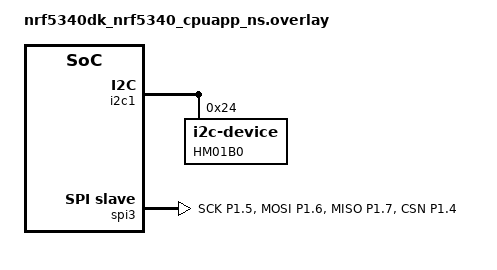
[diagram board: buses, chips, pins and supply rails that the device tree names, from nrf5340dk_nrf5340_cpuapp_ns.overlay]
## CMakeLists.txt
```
# SPDX-License-Identifier: Apache-2.0

cmake_minimum_required(VERSION 3.20.0)
find_package(Zephyr REQUIRED HINTS $ENV{ZEPHYR_BASE})
project(test-bleapp)

FILE(GLOB app_sources src/*.c)
target_sources(app PRIVATE ${app_sources})

target_include_directories(app PRIVATE include)
```

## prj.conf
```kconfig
# GPIO
CONFIG_GPIO=y

# I2C
CONFIG_I2C=y

# Log
CONFIG_LOG=y

# Bluetooth
CONFIG_BT=y
CONFIG_BT_PERIPHERAL=y
CONFIG_BT_GATT_CLIENT=y
CONFIG_BT_DEVICE_NAME="MilliCam"
CONFIG_BT_DEVICE_APPEARANCE=833
CONFIG_BT_MAX_CONN=1
CONFIG_BT_MAX_PAIRED=1
CONFIG_BT_BUF_ACL_RX_SIZE=502
CONFIG_BT_ATT_PREPARE_COUNT=2
CONFIG_BT_L2CAP_TX_BUF_COUNT=10
CONFIG_BT_L2CAP_TX_MTU=498
CONFIG_BT_CONN_TX_MAX=10
CONFIG_BT_BUF_ACL_TX_COUNT=10
CONFIG_BT_BUF_ACL_TX_SIZE=502
CONFIG_BT_USER_DATA_LEN_UPDATE=y
CONFIG_BT_USER_PHY_UPDATE=y
CONFIG_BT_HCI_CORE_LOG_LEVEL_INF=y
CONFIG_BT_RX_STACK_SIZE=8192

# GPIOTE
CONFIG_NRFX_GPIOTE=y
# The below command is needed to include multiple GPIOTEs (FRAME_VALID, LINE_VALID).
# Else, the configuration of GPIOTE initialized second would fail. Only the first one would work
CONFIG_NRFX_GPIOTE_NUM_OF_EVT_HANDLERS=2

# Timer
CONFIG_NRFX_TIMER0=y
CONFIG_NRFX_TIMER1=y

# SPI
CONFIG_SPI=y
CONFIG_SPI_ASYNC=y
CONFIG_SPI_SLAVE=y


CONFIG_LOG_BUFFER_SIZE=20000
```

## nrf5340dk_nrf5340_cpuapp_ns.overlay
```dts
/*
&i2c1 {
    hm01b0: hm01b0@24{
        compatible = "i2c-device";
        reg = < 0x24 >;
        label = "HM01B0";
    };
};
*/

&pinctrl {
    i2c1_default: i2c1_default {
        group1 {
            psels = <NRF_PSEL(TWIM_SDA, 1, 2)>,
                    <NRF_PSEL(TWIM_SCL, 1, 3)>;
            bias-pull-up;
        };
    };

    i2c1_sleep: i2c1_sleep {
        group1 {
            psels = <NRF_PSEL(TWIM_SDA, 1, 2)>,
                    <NRF_PSEL(TWIM_SCL, 1, 3)>;
            bias-pull-up;
            low-power-enable;
        };
    };
};

&i2c1 {
    hm01b0: hm01b0@24 {
        compatible = "i2c-device";
        reg = <0x24>;
        label = "HM01B0";
        pinctrl-0 = <&i2c1_default>;
        pinctrl-1 = <&i2c1_sleep>;
        pinctrl-names = "default", "sleep";
    };
};



&pinctrl {
	spi_slave_default: spi_slave_default {
		group1 {
			psels = <NRF_PSEL(SPIS_SCK, 1, 5)>,
					<NRF_PSEL(SPIS_MOSI, 1, 6)>,
					<NRF_PSEL(SPIS_MISO, 1, 7)>,
					<NRF_PSEL(SPIS_CSN, 1, 4)>;
		};
	};

	spi_slave_sleep: spi_slave_sleep {
		group1 {
			psels = <NRF_PSEL(SPIS_SCK, 1, 5)>,
					<NRF_PSEL(SPIS_MOSI, 1, 6)>,
					<NRF_PSEL(SPIS_MISO, 1, 7)>,
					<NRF_PSEL(SPIS_CSN, 1, 4)>;
			low-power-enable;
		};
	};
};

my_spi_slave: &spi3 {
	compatible = "nordic,nrf-spis";
	status = "okay";
	pinctrl-0 = <&spi_slave_default>;
	pinctrl-1 = <&spi_slave_sleep>;
	pinctrl-names = "default", "sleep";
	def-char = <0x00>;
};
```

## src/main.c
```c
/*
 * Copyright (c) 2016 Intel Corporation
 *
 * SPDX-License-Identifier: Apache-2.0
 */

#include <zephyr/kernel.h>
#include <zephyr/drivers/gpio.h>
#include <zephyr/drivers/i2c.h>
#include <zephyr/sys/printk.h>
#include <hal/nrf_gpiote.h>
#include <hal/nrf_timer.h>
#include <hal/nrf_dppi.h>

#include "hm01b0_clk.h"
#include "gpio.h"
#include "hm01b0_capture.h"
#include "hm01b0_spi.h"

//#include <zephyr/drivers/video.h>
//#include <zephyr/drivers/video/arducam_mega.h>
#include "app_bluetooth.h"
#include <zephyr/logging/log.h>

LOG_MODULE_REGISTER(millicam, CONFIG_LOG_DEFAULT_LEVEL);

/* 1000 msec = 1 sec */
//#define SLEEP_TIME_MS   500 //LED Blink interval

#define RESET_CAMERA 0XFF
#define SET_PICTURE_RESOLUTION 0X01
#define SET_VIDEO_RESOLUTION 0X02
#define SET_BRIGHTNESS 0X03
#define SET_CONTRAST 0X04
#define SET_SATURATION 0X05
#define SET_EV 0X06
#define SET_WHITEBALANCE 0X07
#define SET_SPECIAL_EFFECTS 0X08
#define SET_FOCUS_ENABLE 0X09
#define SET_EXPOSURE_GAIN_ENABLE 0X0A
#define SET_WHITE_BALANCE_ENABLE 0X0C
#define SET_MANUAL_GAIN 0X0D
#define SET_MANUAL_EXPOSURE 0X0E
#define GET_CAMERA_INFO 0X0F
#define TAKE_PICTURE 0X10
#define SET_SHARPNESS 0X11
#define DEBUG_WRITE_REGISTER 0X12
#define STOP_STREAM 0X21
#define GET_FRM_VER_INFO 0X30
#define GET_SDK_VER_INFO 0X40
#define SET_IMAGE_QUALITY 0X50
#define SET_LOWPOWER_MODE 0X60

uint32_t CAM_LINE_VLD;
uint8_t LINE_NUM = ROW_INIT;
uint8_t m_new_command_received = 0;
uint8_t jpeg_active = 0;
uint32_t img_data_length = 0;

/*
uint8_t m_new_acc = 0;
bool acc_int_flag = false;
uint8_t acc_pic_num = 0;
bool acc_int_cmd_flag = false;//flag for for accelerometer is giving interrupt or not
bool acc_int_cmd_sweep = false;//flag for if the sweeping is active for accelerometer or not
bool acc_rec_flag = false;//flag for checking if we want to record ACC data or not
bool cmd_acc_init_flag = false;//flag to show if the camera is already initialized or not
uint16_t packet_sent_acc = 0; */


enum {APP_CMD_NOCOMMAND = 0, APP_CMD_SINGLE_CAPTURE, APP_CMD_START_STREAM, APP_CMD_STOP_STREAM, 
      APP_CMD_CHANGE_RESOLUTION, APP_CMD_CHANGE_PHY, APP_CMD_SEND_BLE_PARAMS, APP_CMD_CHANGE_ANGLE, 
      APP_CMD_JPEG, APP_CMD_ACC, APP_CMD_WR_REG, APP_CMD_SWEEP_CAM, APP_CMD_CAM_ACC_REC};


/*
** Arducam mega communication protocols
** https://www.arducam.com/docs/arducam-mega/arducam-mega-getting-started/packs/HostCommunicationProtocol.html
*/
#define COMMAND_MAX_SIZE 6

void app_bt_connected_callback(void)
{
	LOG_INF("Bluetooth connection established. Entering BLE app mode");

}

void app_bt_disconnected_callback(void)
{
	LOG_INF("Bluetooth disconnected. Entering UDP app mode");

}

void app_bt_take_picture_callback(void)
{
	LOG_INF("TAKE PICTURE");
}

void app_bt_enable_stream_callback(bool enable)
{
	LOG_INF("Starting stream!");

}

void app_bt_change_resolution_callback(uint8_t resolution)
{
	LOG_INF("Change resolution to");

}


const struct app_bt_cb app_bt_callbacks = {
	.connected = app_bt_connected_callback,
	.disconnected = app_bt_disconnected_callback,
    .take_picture = app_bt_take_picture_callback,
	.enable_stream = app_bt_enable_stream_callback,
	.change_resolution = app_bt_change_resolution_callback,
};


int main(void)
{

	int ret;

	gpio_init();
	clk_init();
	gpio_setting_init();
	i2c_init();
	hm01b0_init();
	lvld_timer_init();
	//spi_init();

	ret = app_bt_init(&app_bt_callbacks);
	if (ret < 0) {
		LOG_ERR("Error initializing Bluetooth");
		return -1;
	}

	#if (JPEG_COMPRESS == 0)
	for(;;)
	{
		k_msleep(SLEEP_TIME_MS);
		if(m_new_command_received != APP_CMD_NOCOMMAND)
		{
			uint32_t new_command = m_new_command_received;
			LOG_INF("new_command=%d", new_command);
            m_new_command_received = APP_CMD_NOCOMMAND;
			switch(new_command)
			{
				case APP_CMD_SINGLE_CAPTURE:
					if(ble_bytes_sent_counter >= m_length_rx_done){
						LOG_INF("Starting capture...");
						if(jpeg_active == 0){
                            hm_peripheral_connected_init();
                            hm_single_capture_spi_832();
                            LOG_INF("Capture complete: size %i bytes", (uint32_t)(m_length_rx_done));
							single_capture_flag = 1;
					}
				/*	else {
						LOG_INF("Starting capture...");

                            hm_single_capture_spi_832_compressed();
                            LOG_INF("Capture complete: size %i bytes", (uint32_t)(compressed_size));
                            single_capture_flag = 1;
					} */  //DEEKSHA: Enable this later
				}
					break;

                case APP_CMD_START_STREAM:
                    LOG_INF("Stream mode enabled");
                    break;

                case APP_CMD_STOP_STREAM:
                    LOG_INF("Stream mode disabled");
                    break;

                case APP_CMD_SEND_BLE_PARAMS:
                    app_bt_send_picture_header(m_length_rx_done);
                    break;

				default:
					break;
			}
		}

		if(m_stream_mode_active)
        {
            #if (FRAME_VLD_INT == 1)
            if(!stream_first_image_done){
                if(!acc_int_cmd_sweep){
                    stream_first_image_done = true;
                    hm_peripheral_connected_init();
                    if(cmd_acc_init_flag){
                        cmd_acc_init_flag = false;
                        //cam_power_up(); //DEEKSHA Enable later
                        hm01b0_init_fixed_rom_qvga_fixed();
                        hm_i2c_write(REG_FRAME_LENGTH_LINES_H, 0x02);
                        hm_i2c_write(REG_FRAME_LENGTH_LINES_L, 0x12);
                    }
                    hm_single_capture_spi_832_stream();
                } else {
                    stream_first_image_done = true;
                    hm_peripheral_connected_init();
                    hm_i2c_write(REG_FRAME_LENGTH_LINES_H,CAM_SWEEP_REG_FRAME_LENGTH_LINES_H);
                    hm_i2c_write(REG_FRAME_LENGTH_LINES_L,CAM_SWEEP_REG_FRAME_LENGTH_LINES_L);
                   // pwm_boost_step_rise_fall(DUTY_VALUES_PWM_BOOST[7], PWM_STEPS_NUM, PWM_STEPS_NUM_DOWN , PWM_STEP_DELAY, false); //DEEKSHA : Enable later
                    hm_single_capture_spi_832_stream();
                }
            }
            #endif
        }

		if(ble_bytes_sent_counter < m_length_rx_done )
        {
                #if (FRAME_VLD_INT == 1)
                if(!img_info_sent){
                    if(acc_rec_flag == true){
                        m_length_rx_done = m_length_rx_done + m_length_rx;
                    }
                    app_bt_send_picture_header(m_length_rx_done);
                    img_info_sent = true;
                }

                #endif

                #if (BLE_TEST_PIN_USED == 1)
                nrf_gpio_pin_clear(BLE_START_PIN);
                #endif

                int ret_code;
                do
                {
                    if(img_data_length == 0)
                    {
                        /*Send the max number of bytes that the m_ble_its_max_data_len lets you*/
                        img_data_length = ((m_length_rx_done - ble_bytes_sent_counter) > le_tx_data_length ? le_tx_data_length : (m_length_rx_done - ble_bytes_sent_counter));
                    }

                    ret_code = app_bt_send_picture_data(m_rx_buf+ble_bytes_sent_counter, img_data_length);

                    if(ret_code == 0)
                    {
                        ble_bytes_sent_counter += img_data_length;
                        img_data_length = 0;

                        if (ble_bytes_sent_counter >= m_length_rx_done)
                        {
                            break;
                        }
                        else
                        {
                            //DEEKSHA ToDo: Logic to be added to handle this condition. Check what happens in streaming as well
                        }
                      /* if(acc_rec_flag == true){
                            packet_sent_acc++;
                            //Read the Acc and Mag data and save it at the end of the image
                            if(packet_sent_acc == 20){
                                packet_sent_acc = 0;
                                mc6470_acc_read();
                            }
                        } */ //DEEKSHA: Enable later
                    }
                }while(1);

              #if (FRAME_VLD_INT == 1)
              if((ble_bytes_sent_counter >= m_length_rx_done) && m_stream_mode_active){

                  img_info_sent = false;
                  if(!acc_int_cmd_flag){
                          int error = spi_slave_write_msg();
	                        if(error != 0){
		                        //LOG_ERR("SPI slave transceive error: %i\n", error); //DEEKSHA: Uncomment this after SPI Bug fix
	                            }

                      nrfx_gpiote_trigger_enable(FRAME_VALID_PIN, true);
                  } 
                  else 
                  { //DEEKSHA: Enable this section later
                  /*
                      memset(m_rx_buf+total_image_size, 0, m_length_rx);
                      acc_rec_counter = 0;
                      if(!acc_int_cmd_sweep){
                          if(acc_pic_num > 0){
                             // APP_ERROR_CHECK(nrf_drv_spis_buffers_set(&spis, m_tx_buf, m_length_tx, m_rx_buf, m_length_rx));
                              if(acc_rec_flag == true){
                                  acc_rec_counter = 0;
                                  packet_sent_acc = 0;
                              }
                              nrf_drv_gpiote_in_event_enable(FRAME_VLD, true);
                              acc_pic_num--;
                          } else{
                              hm_i2c_write( REG_MODE_SELECT, 0x00);
                              m_stream_mode_active = false;
                              stream_first_image_done = false;
                              nrf_delay_ms(POR_DELAY);
                              nrf_drv_gpiote_in_event_enable(ACC_INT_PIN, true);
                              accel_sr = hm_i2c_read_8b(SR, SLAV_ADDR_ACC);
                              #if(CAM_CLK_GATING == 1)
                              nrf_drv_timer_disable(&CAM_TIMER);
                              #endif
                              hm_peripheral_uninit();
                          }
                      } else {
                          if(acc_pic_num > 0){
                              APP_ERROR_CHECK(nrf_drv_spis_buffers_set(&spis, m_tx_buf, m_length_tx, m_rx_buf, m_length_rx));
                              switch(acc_pic_num){
                                  case 5: 
                                      break;

                                  case 4: 
                                      pwm_boost_step_rise_fall(DUTY_VALUES_PWM_BOOST[2], PWM_STEPS_NUM, PWM_STEPS_NUM_DOWN , PWM_STEP_DELAY, false);
                                      break;

                                  case 3: 
                                      pwm_boost_zero();
                                      break;

                                  case 2: 
                                      pwm_boost_step_rise_fall(DUTY_VALUES_PWM_BOOST[2], PWM_STEPS_NUM, PWM_STEPS_NUM_DOWN , PWM_STEP_DELAY, true);
                                      break;

                                  case 1: 
                                      pwm_boost_step_rise_fall(DUTY_VALUES_PWM_BOOST[7], PWM_STEPS_NUM, PWM_STEPS_NUM_DOWN , PWM_STEP_DELAY, true);
                                      break;
                              }
                              acc_pic_num--;
                              nrf_drv_gpiote_in_event_enable(FRAME_VLD, true);
                          } else {
                              hm_i2c_write( REG_MODE_SELECT, 0x00);
                              m_stream_mode_active = false;
                              stream_first_image_done = false;
                              nrf_delay_ms(POR_DELAY);
                              nrf_drv_gpiote_in_event_enable(ACC_INT_PIN, true);
                              accel_sr = hm_i2c_read_8b(SR, SLAV_ADDR_ACC);
                              #if(CAM_CLK_GATING == 1)
                              nrf_drv_timer_disable(&CAM_TIMER);
                              #endif

                              pwm_boost_zero();

                              hm_peripheral_uninit();

                            //  Make the boost clock pin 0 to turn off the switching transistor
                              nrf_gpio_cfg(
                              BOOST_PIN,
                              NRF_GPIO_PIN_DIR_OUTPUT,
                              NRF_GPIO_PIN_INPUT_DISCONNECT,
                              NRF_GPIO_PIN_PULLDOWN,
                              NRF_GPIO_PIN_S0S1,
                              NRF_GPIO_PIN_NOSENSE);
                              nrf_gpio_pin_clear(BOOST_PIN);
                          }
                      }
                */  }
             } else if(!m_stream_mode_active && (ble_bytes_sent_counter < m_length_rx_done)){
                  hm_i2c_write( REG_MODE_SELECT, 0x00);
              } else if(!m_stream_mode_active && (ble_bytes_sent_counter >= m_length_rx_done)){
                  #if(CAM_CLK_GATING == 1)
                   nrfx_timer_disable(&CAM_TIMER);
                  #endif

                //  hm_peripheral_uninit(); //DEEKSHA Enable later

                  #if(CAM_SINGLE_CAPTURE_POWER_FIX == 1)
                  nrf_delay_ms(CAM_TURN_OFF_DELAY);
                  nrf_gpio_pin_clear(CAM_POWER);
                  #endif
              }
              #endif
        }

        if(m_new_command_received == APP_CMD_NOCOMMAND)
        {
          // idle_state_handle(); //DEEKSHA: Check if this is needed
        }
	}

	#endif

	return 0;

}
```

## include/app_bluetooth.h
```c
#ifndef __APP_BLUETOOTH_H
#define __APP_BLUETOOTH_H

#include <zephyr/types.h>
#include <zephyr/kernel.h>

// Callbacks from the app_bluetooth module to the application
typedef void (*app_bt_connected_cb)(void);
typedef void (*app_bt_disconnected_cb)(void);
typedef void (*app_bt_take_picture_cb)(void);
typedef void (*app_bt_enable_stream_cb)(bool enable);
typedef void (*app_bt_change_resolution_cb)(uint8_t resolution);

struct app_bt_cb {
    app_bt_connected_cb connected;
    app_bt_disconnected_cb disconnected;
    app_bt_take_picture_cb take_picture;
    app_bt_enable_stream_cb enable_stream;
    app_bt_change_resolution_cb change_resolution;
};

int app_bt_init(const struct app_bt_cb *callbacks);

int app_bt_send_picture_header(uint32_t pic_size);

int app_bt_send_picture_data(uint8_t *buf, uint16_t len);

extern int le_tx_data_length;

#endif
```

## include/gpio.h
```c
#ifndef GPIO_H
#define GPIO_H

#include <zephyr/drivers/gpio.h>
#include <zephyr/kernel.h>
#include <nrfx_gpiote.h>
#include "hm01b0_lvld_timer.h"
#include "hm01b0_capture.h"
#include "hm01b0_ble_defines.h"
#include "nrf.h"
#include "hm01b0_spi.h"

/* 1000 msec = 1 sec */
#define SLEEP_TIME_MS   100 //LED Blink interval

#define HIGH 1
#define LOW 0

#define FRAME_VALID_PIN 27 //gpio0
#define LINE_VALID_PIN 25 //gpio0
#define MCLK_PIN 26 //gpio0
#define CAM_SPI_GPIO_CS_PIN 11 //gpio1

#define TEST_PIN 4 //gpio0

#define CAM_SPI_PIN_MASK(pin) (1 << (pin))

extern const struct device *gpio0;
extern const struct device *gpio1;

extern uint32_t line_count;
extern volatile uint8_t image_rd_done;
extern uint8_t image_frame_done;
extern bool m_stream_mode_active;
extern bool stream_first_image_done;
extern bool acc_int_cmd_sweep;
extern bool cmd_acc_init_flag;
extern uint8_t m_new_command_received;
extern uint8_t single_capture_flag;
extern bool img_info_sent;
extern uint16_t total_image_size;

extern bool acc_rec_flag;
extern bool acc_int_cmd_flag;

int gpio_init();
void gpio_setting_init(void);

#endif
```

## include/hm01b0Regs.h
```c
#ifndef HM01B0REGS_H
#define HM01B0REGS_H

/**############################# Registers #############################**/
//Sensor ID
#define REG_MODEL_ID_H      0x0000
#define REG_MODEL_ID_L      0x0001
#define REG_SILICON_REV     0x0002
#define REG_FRAME_COUNT     0x0005
#define REG_PIXEL_ORDER     0x0006

//Sensor mode control
#define REG_MODE_SELECT         0x0100
#define REG_IMAGE_ORIENTATION   0x0101
#define REG_SW_RESET            0x0103
#define REG_GRP_PARAM_HOLD      0x0104

//Sensor exposure gain control

//Frame timing control
#define REG_FRAME_LENGTH_LINES_H        0x0340
#define REG_FRAME_LENGTH_LINES_L        0x0341
#define REG_FRAME_LENGTH_PCK_H          0x0342
#define REG_FRAME_LENGTH_PCK_L          0x0343

//Bining mode control


//Test pattern control
#define REG_TEST_PATTERN_MODE       0x0601

//Black level control
#define REG_BLC_CFG         0x1000
#define REG_BLC_TGT         0x1003
#define REG_BLI_EN          0x1006
#define REG_BLC2_TGT        0x1007

//Sensor resevred

//VSYNC, HSYNC and pixel shift register
#define REG_VSYNC_HSYNC_PIXEL_SHIFT_EN      0x1012


//Binning mode control
#define REG_BIN_RDOUT_X     0x0383
#define REG_BIN_RDOUT_Y     0x0387
#define REG_BIN_MODE        0x0390

//Statistic control and read only

//Automatic exposure gain control


//Motion detection control

//Sensor timing control
#define REG_QVGA_WIN_EN                 0x3010
#define REG_SIX_BIT_MODE_EN             0x3011
#define REG_PMU_PROGRAMMABLE_FRAMECNT   0x3020
#define REG_ADVANCE_VSYNC               0x3022
#define REG_ADVANCE_HSYNC               0x3023
#define REG_EARLY_GAIN                  0x3035


//IO and clock control
#define REG_BIT_CONTROL                 0x3059
#define REG_OSC_CLK_DIV                 0x3060
#define REG_ANA_REGISTER_11             0x3061
#define REG_IO_DRIVE_STR                0x3062
#define REG_IO_DRIVE_STR2               0x3063
#define REG_ANA_REGISTER_14             0x3064
#define REG_OUTPUT_PIN_STATUS_CONTROL   0x3065
#define REG_ANA_REGISTER_17             0x3067
#define REG_PCLK_POLARITY               0x3068


//I2C slave registers


/**############################# Modes #############################**/
#define MODE_STAND_BY       0x00
#define MODE_STREAMING      0x01
#define MODE_STREAMING2     0x02
#define MODE_STREAMING3     0x03

#define ORIENTATION_HORINONTAL  0x00
#define ORIENTATION_VERTICAL    0x01


#define TEST_PATTERN_OFF            0x00
#define TEST_PATTERN_COLOR_BAR      0x01
#define TEST_PATTERN_WALKING_1      0x11


#endif
```

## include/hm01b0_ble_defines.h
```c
#ifndef HM01B0_BLE_DEFINES_H
#define HM01B0_BLE_DEFINES_H

#include <stdint.h>

//Code shortcuts+++++++++++++++++++++++++++++++++++++++++++++++++
#define lvld_timer_pause  nrf_drv_timer_disable
#define lvld_timer_run  nrf_drv_timer_enable

#define spi_buffer_size 100
#define ROW_INIT 100
#define total_spi_buffer_size_max 32000
#define total_spi_buffer_size 10000
extern uint8_t LINE_NUM;


//Got from HM01B0_COMPRESS.h +++++++++++++++++++++++++++++++++++++++++
#define COMPRESSED_FILE_NAME "test_lowest4.jpg"
#define jpeg_imag_mem_size 100
#define NRF_FPU_USED 0
#define JPEG_16B 1
//+++++++++++++++++++++++++++++++++++++++++++++++++++++++++++++++


#define SPIS_INSTANCE 2 /**< SPIS instance index. */


#ifdef BSP_LED_0
    #define PIN_OUT BSP_LED_0
#endif
//+++++++++++++++++++++++++++++++++++++++++++++++++++++++++++++++

//Got from HM01B0_CAPTURE.h +++++++++++++++++++++++++++++++++++++++++
/*if capture_mode=0x01 => it streams. This is useful for tetsing purposes*/
/*if capture_mode=0x03 => it takes frame_count shots. */
#define capture_mode  0x01
#define CAMERA_DEBUG 0
#define BLE_DEBUG 0
#define JPEG_COMPRESS 0//Activates the JPEG stuff
#define FINAL_CODE 1
#define TEST_PATTERN 0x00
#define BLE_TEST_PIN_USED 0
#define MEM_INIT  0
#define MEM_INIT_VALUE 0x11
#define FRAME_VLD_INT 1//Use the frame valid in the code
#define CAM_CLK_GATING 1//Turns off camera clock when not taking pictures
#define CAM_SINGLE_CAPTURE_POWER_FIX 0//after signle capture the camera power stays high for this reason I power cycle the camera each time
#define POR_DELAY 200
#define CAM_TURN_OFF_DELAY 100
//+++++++++++++++++++++++++++++++++++++++++++++++++++++++++++++++


//PINS USED+++++++++++++++++++++++++++++++++++++++++++++++++++++++++++++++++++
//Got from HM01B0_PWM.h 
#define PIEZO_PIN  NRF_GPIO_PIN_MAP(0,24)
#define BOOST_CLK_PIN_VALUE  12
#define BOOST_CLK_PIN_VALUE2  25
#define BOOST_PIN  NRF_GPIO_PIN_MAP(0,BOOST_CLK_PIN_VALUE)
#define BOOST_PIN2  NRF_GPIO_PIN_MAP(0,BOOST_CLK_PIN_VALUE2)
#define TIMER_BOOST_ARRAY_SIZE 21
#define DUTY_BOOST_ARRAY_SIZE 9
#define PERIOD_BOOST_ARRAY_SIZE 6
#define PERIOD_BOOST_ARRAY_SIZE 6
#define pwm_boost_step_func pwm_boost_step
#define BOOST_PNP_SWITCH 8
#define BOOST_NPN_SWITCH 6
#define CAM_SWEEP_REG_FRAME_LENGTH_LINES_H 0x07
#define CAM_SWEEP_REG_FRAME_LENGTH_LINES_L 0x12
#define PWM_STEPS_NUM 200
#define PWM_STEPS_NUM_DOWN 15
#define PWM_STEP_DELAY 1

//#define ACC_POWER_VALUE 24
#define ACC_POWER_VALUE 24
#define ACC_INT_PIN 20
#define MAG_INT_PIN 23

#define ACC_PIC_CNT 4
#define ACC_PIC_CNT_SWEEP 4


//Got from HM01B0_I2C.h 
#define SLAV_ADDR_ACC 0x4C
#define SLAV_ADDR_MAG 0x0C
#define SLAVE_ADDR 0x24U //address for camera
#define I2C_DATA_LENGTH 32U
/* TWI instance ID. */
#define TWI_INSTANCE_ID     0
//++++++++++++++++++++++++++++++++++++++++++++++++++++++++++++++++++++++++++++

#define I2C_RST_TIMER_VALUE 2000*8*2
#define I2C_RST_CNT_MAX 8
#define I2C_RST_ENABLE 1

//Got from HM01B0_LVLD_TIMER.h +++++++++++++++++++++++++++++++++++++++++
#define LVLD_TIMER_VALUE (spi_buffer_size + 20)*8*2 //the second number in multiplication is equal to 64/cam_mclk_freq; if cam_mcl_freq=8MHz => 8
//+++++++++++++++++++++++++++++++++++++++++++++++++++++++++++++++


//Timers used +++++++++++++++++++++++++++++++++++++++++
/*Timer 0 => BLE timing  NRF_DRV_TIMER_INSTANCE(0)
Timer 1 => camera clk NRF_DRV_TIMER_INSTANCE(1)
Timer 2 => I2C stuck reset timer!!   NRF_DRV_TIMER_INSTANCE(2) 
Timer 3 => pwm 3  NRF_DRV_TIMER_INSTANCE(3)
Timer 4 => LVLD timer!!   NRF_DRV_TIMER_INSTANCE(4) */ 
//+++++++++++++++++++++++++++++++++++++++++++++++++++++++++++++++

//IRQ priorities +++++++++++++++++++++++++++++++++++++++++
/*Timer 0 => BLE timing
GPIOTE:5
LVLD Timer:3
SPIS_ENABLED: 4
NRFX_SPIS:4
*/
//+++++++++++++++++++++++++++++++++++++++++++++++++++++++++++++++


#endif
```

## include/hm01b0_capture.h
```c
#ifndef HM01B0_CAPTURE_H
#define HM01B0_CAPTURE_H

#include "i2c.h"
#include "hm01b0Regs.h"
#include "gpio.h"
#include "hm01b0_func.h"
#include "hm01b0_clk.h"
#include "hm01b0_spi.h"

extern uint32_t ble_bytes_sent_counter;

void hm01b0_init(void);
void hm_peripheral_connected_init(void);
void hm_single_capture_spi_832(void);
void hm_single_capture_spi_832_stream(void);

#endif
```

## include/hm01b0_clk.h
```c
#ifndef HM01B0_CLK_H
#define HM01B0_CLK_H

#include <helpers/nrfx_gppi.h>
#include <nrfx_timer.h>
#include <nrfx_gpiote.h>
#include "gpio.h"

/**
 * @defgroup nrfx_gppi_one_to_one_example One-to-one GPPI example
 * @{
 * @ingroup nrfx_gppi_examples
 *
 * @brief Example showing basic functionality of a nrfx_gppi helper.
 *
 * @details Application initializes nrfx_gpiote, nrfx_timer drivers and nrfx_gppi helper in a way that
 *          TIMER compare event is set up to be forwarded via PPI/DPPI to GPIOTE and toggle a pin.
 */

/** @brief Symbol specifying timer instance to be used. */
#define TIMER_INST_IDX 0

/** @brief Symbol specifying time in milliseconds to wait for handler execution. */
#define TIME_TO_WAIT_MS 100UL

extern nrfx_timer_t CAM_TIMER;

int clk_init();

#endif
```

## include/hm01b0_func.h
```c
#ifndef HM01B0_FUNC_H
#define HM01B0_FUNC_H

#include "hm01b0Regs.h"
#include "hm01b0_ble_defines.h"
#include "i2c.h"

void hm01b0_init_fixed_rom_qvga_fixed(void);

#endif
```

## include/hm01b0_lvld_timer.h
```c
#ifndef HM01B0_LVLD_TIMER_H
#define HM01B0_LVLD_TIMER_H

#include <nrfx_timer.h>
#include "hm01b0_ble_defines.h"
#include "hm01b0_spi.h"

#define TIMER_INST_LVLD_IDX 1

extern uint32_t lvld_timer_val;
extern nrfx_timer_t TIMER_LVLD;

void timer_lvld_event_handler(nrf_timer_event_t event_type, void* p_context);
void lvld_timer_init(void);

#endif
```

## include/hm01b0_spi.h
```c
#ifndef HM01B0_SPI_H
#define HM01B0_SPI_H

#include <zephyr/device.h>
#include <zephyr/devicetree.h>
#include <zephyr/drivers/gpio.h>
#include <zephyr/drivers/spi.h>

#include <nrfx_spis.h>
#include "hm01b0_ble_defines.h"
#include "gpio.h"

#define SPIOP SPI_WORD_SET(8) | SPI_TRANSFER_MSB

#define SPIS_INST_IDX 2

extern nrfx_spis_t spis_inst;

extern uint8_t m_tx_buf[1];                        /**< TX buffer. */
extern uint8_t m_rx_buf[total_spi_buffer_size_max+200];       /**< RX buffer. 200 added for the ACC and Mag data */
extern uint16_t m_length_rx;        /**< Transfer length. */
extern uint16_t m_length_rx_done;       /**< Transfer length. */
extern uint8_t m_length_tx;
extern volatile bool spis_xfer_done;

void spi_init();

int spi_slave_write_msg();
int spi_slave_check_for_message();

#endif
```

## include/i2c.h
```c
#ifndef I2C_H
#define I2C_H

#include <zephyr/drivers/i2c.h>

#define HM01B0_I2C_ADDRESS 0x24
#define I2C1_NODE DT_NODELABEL(hm01b0) //i2c1

extern const struct i2c_dt_spec dev_i2c;

int i2c_init();
int hm_i2c_write(uint16_t reg_addr, uint8_t data);
uint8_t hm_i2c_read(uint16_t reg_addr);

#endif
```

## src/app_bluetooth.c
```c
#include "app_bluetooth.h"

#include <zephyr/bluetooth/bluetooth.h>
#include <zephyr/bluetooth/uuid.h>
#include <zephyr/bluetooth/gatt.h>
#include <zephyr/bluetooth/hci.h>
#include <zephyr/settings/settings.h>
#include "its.h"

#include <zephyr/logging/log.h>
#include "gpio.h"

#define LOG_MODULE_NAME app_bluetooth
LOG_MODULE_REGISTER(LOG_MODULE_NAME, LOG_LEVEL_INF);

#define DEVICE_NAME CONFIG_BT_DEVICE_NAME
#define DEVICE_NAME_LEN	(sizeof(DEVICE_NAME) - 1)

static const struct bt_le_conn_param *conn_param = BT_LE_CONN_PARAM(9, 9, 0, 400);

static struct bt_conn *current_conn;

static app_bt_connected_cb app_callback_connected;
static app_bt_disconnected_cb app_callback_disconnected;
static app_bt_take_picture_cb app_callback_take_picture;
static app_bt_enable_stream_cb app_callback_enable_stream;
static app_bt_change_resolution_cb app_callback_change_resolution;
static struct its_ble_params_info_t ble_params_info = {.con_interval = 0, .mtu = 23, .tx_phy = 1, .rx_phy = 1};

// In order to maximize data throughput, scale the notifications after the TX data length
//static int le_tx_data_length = 20;
int le_tx_data_length = 20; //DEEKSHA removed static to use in main

enum app_bt_internal_commands {APP_BT_INT_ITS_RX_EVT, APP_BT_INT_SCHEDULE_CONNECTED_CB, APP_BT_INT_SCHEDULE_DISCONNECTED_CB, APP_BT_INT_SCHEDULE_BLE_PARAMS_INFO_UPDATE};
static struct its_rx_cb_evt_t internal_command_evt;

void schedule_ble_params_info_update(void);

struct app_bt_command {
	enum app_bt_internal_commands command;
	struct its_rx_cb_evt_t its_rx_event;
};
K_MSGQ_DEFINE(msgq_its_rx_commands, sizeof(struct app_bt_command), 8, 4);

static const struct bt_data ad[] = {
	BT_DATA_BYTES(BT_DATA_FLAGS, (BT_LE_AD_GENERAL | BT_LE_AD_NO_BREDR)),
	BT_DATA(BT_DATA_NAME_COMPLETE, DEVICE_NAME, DEVICE_NAME_LEN),
};

static const struct bt_data sd[] = {
	BT_DATA_BYTES(BT_DATA_UUID128_ALL, BT_UUID_ITS_VAL),
};

static int schedule_internal_command(enum app_bt_internal_commands command)
{
	internal_command_evt.command = command;
	if (k_msgq_put(&msgq_its_rx_commands, &internal_command_evt, K_NO_WAIT) != 0){
		LOG_ERR("RX cmd message queue full!");
		return -ENOMEM;
	}
	return 0;
}

void att_mtu_updated(struct bt_conn *conn, uint16_t tx, uint16_t rx)
{
	LOG_INF("MTU Updated: tx %d, rx %d", tx, rx);
}

static struct bt_gatt_cb gatt_cb = {
	.att_mtu_updated = att_mtu_updated,
};

static void mtu_exchange_cb(struct bt_conn *conn, uint8_t err, struct bt_gatt_exchange_params *params)
{
	if (!err) {
		int att_mtu = bt_gatt_get_mtu(conn);
		LOG_INF("MTU exchange successful. %i bytes", att_mtu - 3); 
	} else {
		LOG_WRN("MTU exchange failed (err %" PRIu8 ")", err);
	}
}

static void connected(struct bt_conn *conn, uint8_t err)
{
	char addr[BT_ADDR_LE_STR_LEN];

	if (err) {
		LOG_ERR("Connection failed (err %u)", err);
		return;
	}

	bt_addr_le_to_str(bt_conn_get_dst(conn), addr, sizeof(addr));
	LOG_INF("Connected %s", addr);

	current_conn = bt_conn_ref(conn);

	static struct bt_gatt_exchange_params exchange_params;
	exchange_params.func = mtu_exchange_cb;

	err = bt_gatt_exchange_mtu(conn, &exchange_params);
	if (err) {
		printk("MTU exchange failed (err %d)\n", err);
	} else {
		printk("MTU exchange pending\n");
	}

	err = bt_conn_le_data_len_update(conn, BT_LE_DATA_LEN_PARAM_MAX);
	if (err) {
		LOG_ERR("LE data length update request failed: %d",  err);
	}

	err = bt_conn_le_param_update(conn, conn_param);
	if (err) {
		LOG_ERR("Cannot update connection parameter (err: %d)", err);
	}

	schedule_internal_command(APP_BT_INT_SCHEDULE_CONNECTED_CB);
}

static void disconnected(struct bt_conn *conn, uint8_t reason)
{
	char addr[BT_ADDR_LE_STR_LEN];

	bt_addr_le_to_str(bt_conn_get_dst(conn), addr, sizeof(addr));

	LOG_INF("Disconnected: %s (reason %u)", addr, reason);

	if (current_conn) {
		bt_conn_unref(current_conn);
		current_conn = NULL;
	}

	schedule_internal_command(APP_BT_INT_SCHEDULE_DISCONNECTED_CB);
}

static void connection_param_update(struct bt_conn *conn, uint16_t interval, uint16_t latency, uint16_t timeout)
{
	LOG_INF("Con params updated. Connection interval %d ms, latency %i, timeout %i ms", (int) ((float)interval*1.25f), latency, timeout * 10);
	ble_params_info.con_interval = interval;
	schedule_ble_params_info_update();
}

static void le_data_length_updated(struct bt_conn *conn,
				   struct bt_conn_le_data_len_info *info)
{
	LOG_INF("LE data length updated: TX (len: %d time: %d) RX (len: %d time: %d)",
			info->tx_max_len, info->tx_max_time, info->rx_max_len, info->rx_max_time);

	ble_params_info.mtu = info->tx_max_len;
	schedule_ble_params_info_update();

	// Set the TX data length, which will determine the size of image data transfers.
	// Subtract 3 bytes for ATT header and 4 bytes for L2CAP header.
	le_tx_data_length = info->tx_max_len - 7;
	LOG_INF("Notification data length set to %i bytes", le_tx_data_length);
}

static void le_phy_updated(struct bt_conn *conn,
			   struct bt_conn_le_phy_info *param)
{
	LOG_INF("LE PHY updated: TX PHY %i, RX PHY %i\n", param->tx_phy, param->rx_phy);
	ble_params_info.tx_phy = param->tx_phy;
	ble_params_info.rx_phy = param->rx_phy;
	schedule_ble_params_info_update();
}

BT_CONN_CB_DEFINE(conn_callbacks) = {
	.connected    = connected,
	.disconnected = disconnected,
	.le_param_updated = connection_param_update,
	.le_data_len_updated = le_data_length_updated,
	.le_phy_updated = le_phy_updated,
};

void schedule_ble_params_info_update(void)
{
	internal_command_evt.command = APP_BT_INT_SCHEDULE_BLE_PARAMS_INFO_UPDATE;
	if (k_msgq_put(&msgq_its_rx_commands, &internal_command_evt, K_NO_WAIT) != 0){
		LOG_ERR("RX cmd message queue full!");
	}
}

void its_rx_callback(struct its_rx_cb_evt_t *evt)
{
	static struct app_bt_command bt_cmd = {.command = APP_BT_INT_ITS_RX_EVT};
	bt_cmd.its_rx_event = *evt;
	if (k_msgq_put(&msgq_its_rx_commands, &bt_cmd, K_NO_WAIT) != 0) {
		LOG_ERR("APP BT RX CMD queue full");
	}
}

static struct bt_its_cb its_cb = {
	.rx_cb = its_rx_callback,
};

static void app_bt_thread_func(void)
{
	int err;
	struct app_bt_command app_cmd;
	while (1) {
		k_msgq_get(&msgq_its_rx_commands, &app_cmd, K_FOREVER);

		if(app_cmd.command == APP_BT_INT_ITS_RX_EVT) {
			// Commands originating from the Image Transfer Service
			switch (app_cmd.its_rx_event.command) {
				case ITS_RX_CMD_SINGLE_CAPTURE:
					LOG_INF("ITS RX CMD: SingleCapture");
					m_new_command_received = app_cmd.its_rx_event.command;
					img_info_sent = false;
					acc_rec_flag = false;
					LOG_INF("m_new_command_received=%d", m_new_command_received);
					if (app_callback_take_picture) {
						app_callback_take_picture();
					}
					break;
				case ITS_RX_CMD_START_STREAM:
					LOG_INF("ITS RX CMD: Start Stream");
					m_new_command_received = app_cmd.its_rx_event.command;
					#if(CAM_CLK_GATING == 1)
            			nrfx_timer_enable(&CAM_TIMER);
            		#endif
            		single_capture_flag = 0;
            		m_stream_mode_active = true;
            		img_info_sent = false;
            		acc_rec_flag = false;
            		cmd_acc_init_flag = false;
					if (app_callback_enable_stream) {
						app_callback_enable_stream(true);
					}
					break;
				case ITS_RX_CMD_STOP_STREAM:
					LOG_INF("ITS RX CMD: Stop stream");
					m_new_command_received = app_cmd.its_rx_event.command;
					//pwm_boost_zero(); //DEEKSHA - Uncomment these 3 lines later
					//hm_i2c_write_8b(CNTL1,0x08, SLAV_ADDR_MAG);
					//hm_i2c_write_8b(MODE, 0x00, SLAV_ADDR_ACC);
					cmd_acc_init_flag = false;
					acc_int_cmd_flag = false;
					acc_int_cmd_sweep = false;
					acc_rec_flag = false;
					// nrf_drv_gpiote_in_event_disable(ACC_INT_PIN); //DEEKSHA - Uncomment this later
					img_info_sent = false;
					stream_first_image_done = false;
					m_stream_mode_active = false;
					if (app_callback_enable_stream) {
						app_callback_enable_stream(false);
					}
					break;
				case ITS_RX_CMD_CHANGE_RESOLUTION:
					LOG_INF("ITS RX CMD: Change res");
					if (app_callback_change_resolution) {
						app_callback_change_resolution(app_cmd.its_rx_event.data[0]);
					}
					break;
				case ITS_RX_CMD_CHANGE_PHY:
					LOG_INF("ITS RX CMD: Change phy (%i)", app_cmd.its_rx_event.data[0]);
					err = bt_conn_le_phy_update(current_conn, (app_cmd.its_rx_event.data[0] == 1) ? BT_CONN_LE_PHY_PARAM_2M : BT_CONN_LE_PHY_PARAM_1M);
					if (err) {
						LOG_ERR("Phy update request failed: %d",  err);
					}
					break;
				case ITS_RX_CMD_SEND_BLE_PARAMS:
					LOG_INF("ITS RX CMD: Send ble params");
					m_new_command_received = app_cmd.its_rx_event.command;
					break;

				default:
					LOG_ERR("CMD:Invalid command!");
					break;
			}
		} else {
			switch (app_cmd.command) {
				case APP_BT_INT_SCHEDULE_CONNECTED_CB:
					if (app_callback_connected) {
						app_callback_connected();
					}
					break;
				case APP_BT_INT_SCHEDULE_DISCONNECTED_CB:
					if (app_callback_disconnected) {
						app_callback_disconnected();
					}
					break;
				case APP_BT_INT_SCHEDULE_BLE_PARAMS_INFO_UPDATE:
					err = bt_its_send_ble_params_info(&ble_params_info);
					if (err) {
						LOG_ERR("Error sending ble params");
					}
					break;
				default:
					break;
			}
		}
	}
}

int app_bt_init(const struct app_bt_cb *callbacks)
{
	int err = 0;

	if (callbacks) {
		app_callback_connected = callbacks->connected;
		app_callback_disconnected = callbacks->disconnected;
		app_callback_take_picture = callbacks->take_picture;
		app_callback_enable_stream = callbacks->enable_stream;
		app_callback_change_resolution = callbacks->change_resolution;
	}

	err = bt_enable(NULL);
	if (err) {
		return err;
	}

	LOG_DBG("Bluetooth initialized");

	bt_gatt_cb_register(&gatt_cb);

	if (IS_ENABLED(CONFIG_SETTINGS)) {
		settings_load();
	}

    err = bt_its_init(&its_cb);
	if (err) {
		LOG_ERR("Failed to initialize Image Transfer Service (err: %d)", err);
		return 0;
	}

	err = bt_le_adv_start(BT_LE_ADV_CONN, ad, ARRAY_SIZE(ad), sd, ARRAY_SIZE(sd));
	if (err) {
		LOG_ERR("Advertising failed to start (err %d)", err);
		return err;
	}

    return 0;
}

int app_bt_send_picture_header(uint32_t pic_size)
{
	struct its_img_info_t img_info = {.file_size_bytes = pic_size};
	return bt_its_send_img_info(&img_info);
}

int app_bt_send_picture_data(uint8_t *buf, uint16_t len)
{
	return bt_its_send_img_data(current_conn, buf, len, le_tx_data_length);
}

K_THREAD_DEFINE(app_bt_thread, 2048, app_bt_thread_func, NULL, NULL, NULL,
				K_PRIO_PREEMPT(K_LOWEST_APPLICATION_THREAD_PRIO), 0, 0);
```

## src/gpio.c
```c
#include "gpio.h"
#include <zephyr/logging/log.h>
#include "hm01b0_spi.h"
#include <nrf.h>

LOG_MODULE_REGISTER(gpio, CONFIG_LOG_DEFAULT_LEVEL);

const struct device *gpio0;
const struct device *gpio1;

int m_clk_gpio_err = 0;
int frame_valid_gpio_err = 0;
int line_valid_gpio_err = 0;
int cam_spi_gpio_err = 0;
int test_pin_err = 0;

uint32_t line_count;
uint8_t volatile image_rd_done = 0;
uint8_t image_frame_done = 0;
bool m_stream_mode_active = false;
bool stream_first_image_done = false;
bool acc_int_cmd_sweep;
bool cmd_acc_init_flag = false;
uint8_t single_capture_flag = 0;
bool img_info_sent = false;
uint16_t total_image_size = total_spi_buffer_size;

bool acc_rec_flag = false;
bool acc_int_cmd_flag = false;



int gpio_init()
{
    gpio0 = device_get_binding(DEVICE_DT_NAME(DT_NODELABEL(gpio0)));
    gpio1 = device_get_binding(DEVICE_DT_NAME(DT_NODELABEL(gpio1)));

	m_clk_gpio_err =  gpio_pin_configure(gpio0, MCLK_PIN, GPIO_OUTPUT | GPIO_OUTPUT_INIT_LOW);
    frame_valid_gpio_err = gpio_pin_configure(gpio0, FRAME_VALID_PIN, GPIO_OUTPUT | GPIO_OUTPUT_INIT_LOW);
    line_valid_gpio_err = gpio_pin_configure(gpio0, LINE_VALID_PIN, GPIO_OUTPUT | GPIO_OUTPUT_INIT_LOW);
    cam_spi_gpio_err = gpio_pin_configure(gpio1, CAM_SPI_GPIO_CS_PIN, GPIO_OUTPUT | GPIO_OUTPUT_INIT_LOW);
    test_pin_err = gpio_pin_configure(gpio0, TEST_PIN, GPIO_OUTPUT | GPIO_OUTPUT_INIT_LOW);

    if (m_clk_gpio_err || frame_valid_gpio_err || line_valid_gpio_err || cam_spi_gpio_err || test_pin_err)
        LOG_ERR("GPIO Initialization Error");
    else
        LOG_INF("GPIOs Initialized");
}

static void in_pin_handler_frame_vld(nrfx_gpiote_pin_t pin, nrfx_gpiote_trigger_t trigger, void *p_context)
{
    nrfx_gpiote_trigger_disable(FRAME_VALID_PIN);

    line_count = 0;
    m_length_rx_done = 0;
    nrfx_timer_enable(&TIMER_LVLD);
    gpio_pin_set(gpio1, CAM_SPI_GPIO_CS_PIN, 0);
}

static void in_pin_handler_line_vld(nrfx_gpiote_pin_t pin, nrfx_gpiote_trigger_t trigger, void *p_context)
{
    if (line_count<LINE_NUM){
    // here we need to activate SPI CS; enable the lvld_timer; and activate the line_vld interrupt; increase the counter of lines
        nrfx_timer_enable(&TIMER_LVLD);
       // gpio_pin_set(gpio1, CAM_SPI_GPIO_CS_PIN, 0);
        NRF_P1->OUTCLR = (1 << CAM_SPI_GPIO_CS_PIN);
        line_count++;
        }
    else{
        nrfx_gpiote_trigger_disable(LINE_VALID_PIN);
        nrfx_gpiote_trigger_disable(FRAME_VALID_PIN);
        nrfx_timer_disable(&TIMER_LVLD);
        //gpio_pin_set(gpio1, CAM_SPI_GPIO_CS_PIN, 1);
        NRF_P1->OUTSET = (1 << CAM_SPI_GPIO_CS_PIN);

        #if (FRAME_VLD_INT == 1)
          m_length_rx_done = total_image_size;
          ble_bytes_sent_counter = 0;

        /*SPI registers initilization*/
          #if (MEM_INIT == 1)
            memset(m_rx_buf, MEM_INIT_VALUE, total_image_size);
          #endif
          #if (defined(CAMERA_DEBUG) && (CAMERA_DEBUG == 1))
              nrfx_gpiote_trigger_enable(FRAME_VALID_PIN, true);
              //APP_ERROR_CHECK(nrf_drv_spis_buffers_set(&spis, m_tx_buf, m_length_tx, m_rx_buf, m_length_rx)); //DEEKSHA rewrite this for new SPI driver
          #endif
        #endif
        image_rd_done = 1;
    }
}

void gpio_setting_init(void)
{
    nrfx_err_t err_code;
    static uint8_t fvld_channel;
    static uint8_t lvld_channel;

    if (!nrfx_gpiote_is_init())
    {
        err_code = nrfx_gpiote_init(NRFX_GPIOTE_DEFAULT_CONFIG_IRQ_PRIORITY);
    }

    err_code = nrfx_gpiote_channel_alloc(&fvld_channel);
    NRFX_ASSERT(status == NRFX_SUCCESS);
    err_code = nrfx_gpiote_channel_alloc(&lvld_channel);
    NRFX_ASSERT(status == NRFX_SUCCESS);

   static const nrfx_gpiote_input_config_t in_config_frmvld =
    {
        .pull = NRF_GPIO_PIN_NOPULL,
    };

   // Finds rising edge instead of just toggling
    static const nrfx_gpiote_trigger_config_t trigger_config_frmvalid = {
		.trigger = NRFX_GPIOTE_TRIGGER_LOTOHI,
        .p_in_channel = &fvld_channel,
	};

	static const nrfx_gpiote_handler_config_t handler_config_frmvalid = {
		.handler = in_pin_handler_frame_vld,
	};

    // gpiote initialization has been done in clock and timer initialization, no need to do it again
    err_code = nrfx_gpiote_input_configure(FRAME_VALID_PIN, &in_config_frmvld, &trigger_config_frmvalid, &handler_config_frmvalid);
    NRFX_ASSERT(status == NRFX_SUCCESS);

    static const nrfx_gpiote_input_config_t in_config_linevld = {
        .pull = NRF_GPIO_PIN_NOPULL,
    };

  // Finds rising edge instead of just toggling
    static const nrfx_gpiote_trigger_config_t trigger_config_linevalid = {
		.trigger = NRFX_GPIOTE_TRIGGER_HITOLO,
        .p_in_channel = &lvld_channel,
	};

	static const nrfx_gpiote_handler_config_t handler_config_linevalid = {
		.handler = in_pin_handler_line_vld,
	};

    // gpiote initialization has been done in clock and timer initialization, no need to do it again
    err_code = nrfx_gpiote_input_configure(LINE_VALID_PIN, &in_config_linevld, &trigger_config_linevalid, &handler_config_linevalid);
    NRFX_ASSERT(status == NRFX_SUCCESS);

    LOG_INF("nrfx_gpiote initialized");

}
```
